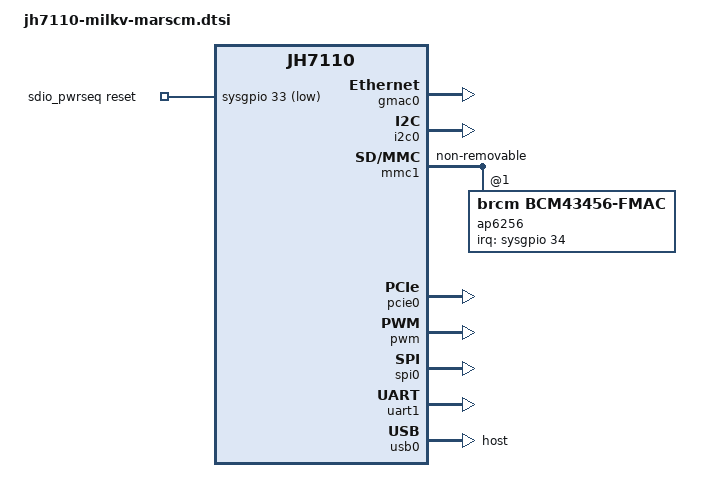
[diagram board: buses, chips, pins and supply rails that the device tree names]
// SPDX-License-Identifier: GPL-2.0 OR MIT
/*
 * Copyright (C) 2025 E Shattow <e@freeshell.de>
 */

/dts-v1/;
#include <dt-bindings/interrupt-controller/irq.h>
#include "jh7110-common.dtsi"

/ {
	aliases {
		i2c1 = &i2c1;
		i2c3 = &i2c3;
		i2c4 = &i2c4;
		serial3 = &uart3;
	};

	sdio_pwrseq: sdio-pwrseq {
		compatible = "mmc-pwrseq-simple";
		reset-gpios = <&sysgpio 33 GPIO_ACTIVE_LOW>;
	};
};

&gmac0 {
	assigned-clocks = <&aoncrg JH7110_AONCLK_GMAC0_TX>;
	assigned-clock-parents = <&aoncrg JH7110_AONCLK_GMAC0_RMII_RTX>;
	starfive,tx-use-rgmii-clk;
	status = "okay";
};

&i2c0 {
	status = "okay";
};

&i2c2 {
	status = "disabled";
};

&i2c6 {
	status = "disabled";
};

&mmc1 {
	#address-cells = <1>;
	#size-cells = <0>;

	mmc-pwrseq = <&sdio_pwrseq>;
	non-removable;
	status = "okay";

	ap6256: wifi@1 {
		compatible = "brcm,bcm43456-fmac", "brcm,bcm4329-fmac";
		reg = <1>;
		interrupt-parent = <&sysgpio>;
		interrupts = <34 IRQ_TYPE_LEVEL_HIGH>;
		interrupt-names = "host-wake";
		pinctrl-0 = <&wifi_host_wake_irq>;
		pinctrl-names = "default";
	};
};

&pcie0 {
	status = "okay";
};

&phy0 {
	rx-internal-delay-ps = <1500>;
	tx-internal-delay-ps = <1500>;
	motorcomm,rx-clk-drv-microamp = <3970>;
	motorcomm,rx-data-drv-microamp = <2910>;
	motorcomm,tx-clk-10-inverted;
	motorcomm,tx-clk-100-inverted;
	motorcomm,tx-clk-1000-inverted;
	motorcomm,tx-clk-adj-enabled;
};

&pwm {
	status = "okay";
};

&spi0 {
	status = "okay";
};

&sysgpio {
	uart1_pins: uart1-0 {
		tx-pins {
			pinmux = <GPIOMUX(16, GPOUT_SYS_UART1_TX,
					      GPOEN_ENABLE,
					      GPI_NONE)>;
			bias-disable;
			drive-strength = <12>;
			input-disable;
			input-schmitt-disable;
		};

		rx-pins {
			pinmux = <GPIOMUX(17, GPOUT_LOW,
					      GPOEN_DISABLE,
					      GPI_SYS_UART1_RX)>;
			bias-pull-up;
			input-enable;
			input-schmitt-enable;
		};

		cts-pins {
			pinmux = <GPIOMUX(3, GPOUT_LOW,
					     GPOEN_DISABLE,
					     GPI_SYS_UART1_CTS)>;
			bias-disable;
			input-enable;
			input-schmitt-enable;
		};

		rts-pins {
			pinmux = <GPIOMUX(2, GPOUT_SYS_UART1_RTS,
					     GPOEN_ENABLE,
					     GPI_NONE)>;
			bias-disable;
			input-disable;
			input-schmitt-disable;
		};
	};

	usb0_pins: usb0-0 {
		vbus-pins {
			pinmux = <GPIOMUX(25, GPOUT_SYS_USB_DRIVE_VBUS,
					      GPOEN_ENABLE,
					      GPI_NONE)>;
			bias-disable;
			input-disable;
			input-schmitt-disable;
			slew-rate = <0>;
		};
	};

	wifi_host_wake_irq: wifi-host-wake-irq-0 {
		wake-pins {
			pinmux = <GPIOMUX(34, GPOUT_LOW,
					      GPOEN_DISABLE,
					      GPI_NONE)>;
			input-enable;
		};
	};
};

&uart1 {
	uart-has-rtscts;
	pinctrl-0 = <&uart1_pins>;
	pinctrl-names = "default";
	status = "okay";
};

&usb0 {
	dr_mode = "host";
	pinctrl-names = "default";
	pinctrl-0 = <&usb0_pins>;
	status = "okay";
};
